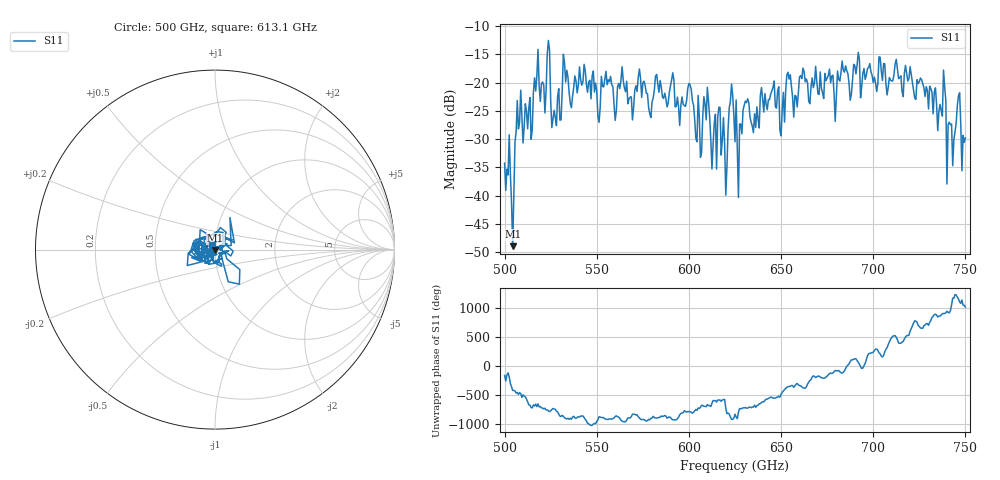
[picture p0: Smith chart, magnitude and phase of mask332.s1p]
!Created with skrf (http://scikit-rf.org).
# GHz S MA R 50.0
!freq magS11 angS11
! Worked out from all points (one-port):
!   401 points, 500 GHz to 750 GHz, reference 50 ohm
!   lowest |S11| = -48.9 dB at 504.4 GHz (marker M1), VSWR 1.01, Z = 50.2 - j0.31 ohm
!   |S11| at or under -10 dB: start of sweep to end of sweep
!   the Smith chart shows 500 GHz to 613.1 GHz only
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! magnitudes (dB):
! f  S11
! 500 GHz  -34.2
! 504.4 GHz  -48.9
! 507.5 GHz  -28.2
! 513.8 GHz  -22.6
! 516.9 GHz  -21.5
! 523.8 GHz  -12.6
! 526.9 GHz  -24.9
! 531.2 GHz  -21.4
! 562.5 GHz  -21.1
! 579.4 GHz  -26.2
! 590.6 GHz  -19.5
! 593.8 GHz  -22.6
! 600.6 GHz  -20.4
! 605.6 GHz  -26.0
! 609.4 GHz  -26.6
! 619.4 GHz  -30.9
! 622.5 GHz  -23.3
! 625 GHz  -30.5
! 627.5 GHz  -27.3
! 631.2 GHz  -23.5
! 635 GHz  -28.8
! 656.2 GHz  -22.6
! 687.5 GHz  -23.1
! 718.8 GHz  -19.7
! 738.1 GHz  -17.8
! 741.2 GHz  -27.0
! 746.2 GHz  -22.3
! 750 GHz  -29.8
